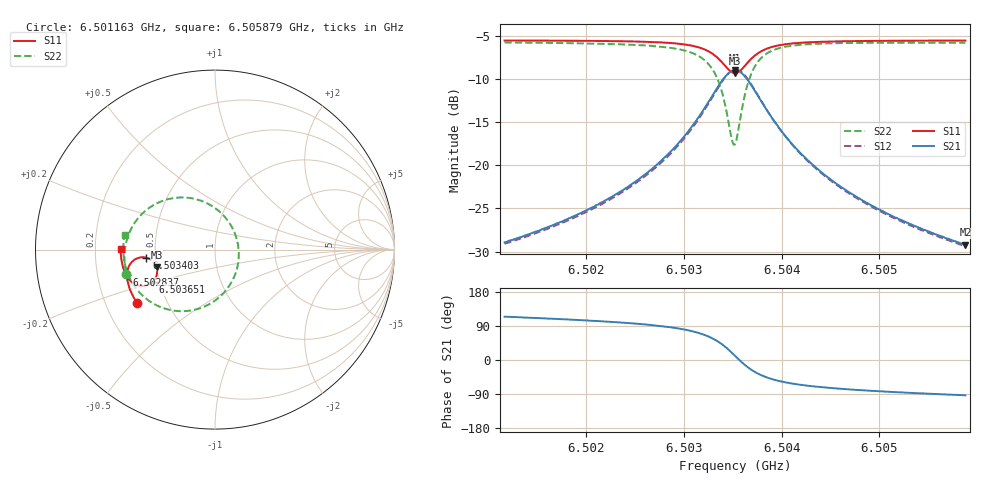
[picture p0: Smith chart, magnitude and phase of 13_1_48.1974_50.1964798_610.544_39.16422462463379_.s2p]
#  HZ  S  RI  R  50.00
! Rohde & Schwarz Vector Network Analyzer
! Rohde-Schwarz,ZNB20-2Port,1311601062101988,3.16
! Created: UTC 3/20/2024, 11:36:37 AM
! freq[Hz]  re:S11  im:S11  re:S21  im:S21  re:S12  im:S12  re:S22  im:S22
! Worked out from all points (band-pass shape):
!   401 points, 6.501163 GHz to 6.505879 GHz, reference 50 ohm
!   highest |S21| = -9.02 dB at 6.503521 GHz (marker M1); lowest = -29.2 dB at 6.505879 GHz (marker M2)
!   |S21| within 3 dB of the highest: 6.503287 GHz to 6.503758 GHz (471.3 kHz wide, 0.00725 % of centre)
!   lowest |S11| = -9.4 dB at 6.503521 GHz (marker M3), VSWR 2.03, Z = 25 - j5.6 ohm
!   |S11| at or under -10 dB: nowhere
!   |S22| runs from -17.6 to -5.8 dB; largest |S21 - S12| = 0.012
!   S11 on the Smith chart (normalised r, x): 6.501163 GHz: 0.34, -0.27; 6.502837 GHz: 0.33, -0.12; 6.503403 GHz: 0.45, -0.05; 6.503651 GHz: 0.46, -0.20; 6.505879 GHz: 0.31, +0.00
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6.501163e9  -0.4359 -0.2952  -0.0146 0.0326  -0.013 0.0325  -0.4951 -0.1335
6.501953e9  -0.4686 -0.235  -0.0137 0.0514  -0.0113 0.0508  -0.5045 -0.0456
6.5024011e9  -0.4834 -0.1935  -0.0102 0.0728  -0.00704 0.0714  -0.4986 0.0223
6.502743e9  -0.4903 -0.1534  -0.000396 0.1031  0.00337 0.1005  -0.4763 0.0966
6.5028373e9  -0.4906 -0.14  0.00559 0.1157  0.00937 0.1125  -0.4633 0.1232
6.5030378e9  -0.4848 -0.1053  0.0306 0.1524  0.0342 0.1476  -0.4113 0.1942
6.5031793e9  -0.4685 -0.0749  0.0723 0.1875  0.0747 0.1813  -0.3308 0.2544
6.503309e9  -0.4309 -0.0475  0.1524 0.2142  0.1528 0.2076  -0.1851 0.2906
6.5034033e9  -0.3825 -0.045  0.2475 0.1967  0.2472 0.192  -0.0202 0.2451
6.5034858e9  -0.3375 -0.0758  0.3291 0.1188  0.3316 0.115  0.1102 0.0913
6.5035212e9  -0.3259 -0.0991  0.3476 0.0679  0.3515 0.0627  0.132 -0.00473
6.5035448e9  -0.3227 -0.1161  0.3511 0.0317  0.3556 0.0252  0.1297 -0.0713
6.5035802e9  -0.3248 -0.1415  0.3435 -0.0209  0.3475 -0.0298  0.1009 -0.1648
6.5036509e9  -0.348 -0.1808  0.2944 -0.1008  0.2947 -0.1125  -0.0151 -0.2942
6.5037452e9  -0.3907 -0.2016  0.2123 -0.1458  0.2073 -0.1565  -0.1828 -0.3431
6.503816e9  -0.4179 -0.2018  0.1623 -0.1511  0.1555 -0.1594  -0.276 -0.3297
6.5038985e9  -0.4419 -0.1947  0.12 -0.1447  0.1126 -0.1505  -0.3503 -0.2966
6.5040636e9  -0.472 -0.1735  0.07 -0.1227  0.0633 -0.1252  -0.4314 -0.2266
6.5043112e9  -0.4951 -0.1421  0.0358 -0.0945  0.0308 -0.095  -0.4807 -0.1461
6.5046532e9  -0.5106 -0.105  0.0162 -0.07  0.0126 -0.0696  -0.5037 -0.0714
6.5051012e9  -0.5206 -0.0622  0.00548 -0.0515  0.00299 -0.0508  -0.5108 -0.00332
6.5058794e9  -0.5261 0.0047  -0.002 -0.0346  -0.0033 -0.0338  -0.5039 0.0831
